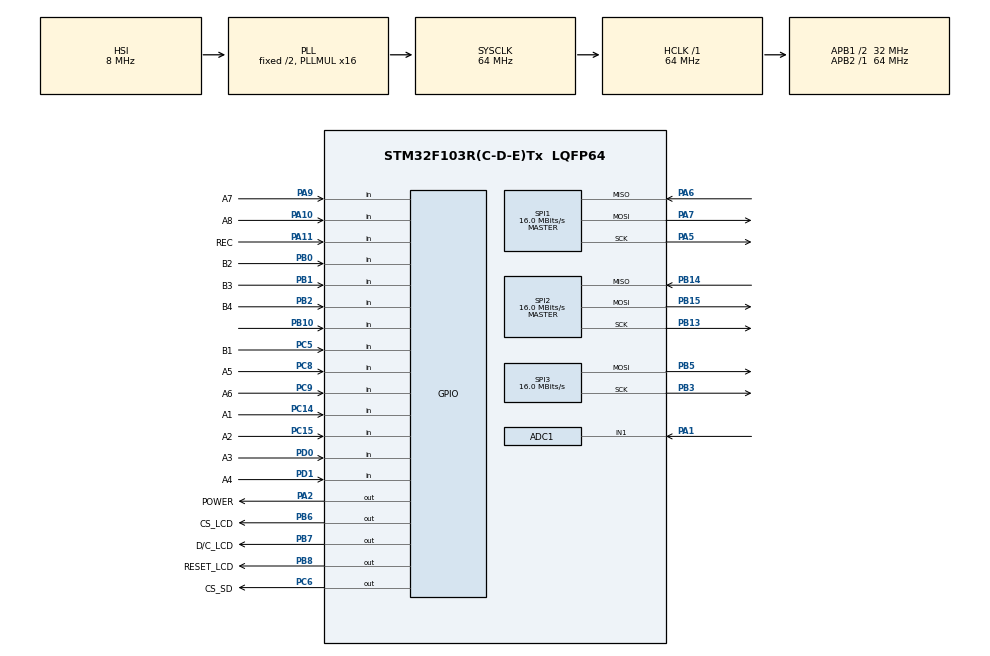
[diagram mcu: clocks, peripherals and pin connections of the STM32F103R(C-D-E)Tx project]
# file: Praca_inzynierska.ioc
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ADC1.Channel-4\#ChannelRegularConversion=ADC_CHANNEL_1
ADC1.ContinuousConvMode=ENABLE
ADC1.EnableRegularConversion=ENABLE
ADC1.NbrOfConversion=1
ADC1.NbrOfConversionFlag=1
ADC1.Rank-4\#ChannelRegularConversion=1
ADC1.SamplingTime-4\#ChannelRegularConversion=ADC_SAMPLETIME_239CYCLES_5
ADC1.master=1
Dma.ADC1.0.Direction=DMA_PERIPH_TO_MEMORY
Dma.ADC1.0.Instance=DMA1_Channel1
Dma.ADC1.0.MemDataAlignment=DMA_MDATAALIGN_HALFWORD
Dma.ADC1.0.MemInc=DMA_MINC_ENABLE
Dma.ADC1.0.Mode=DMA_CIRCULAR
Dma.ADC1.0.PeriphDataAlignment=DMA_PDATAALIGN_HALFWORD
Dma.ADC1.0.PeriphInc=DMA_PINC_DISABLE
Dma.ADC1.0.Priority=DMA_PRIORITY_LOW
Dma.Request0=ADC1
FATFS._CODE_PAGE=1252
FATFS._MAX_SS=4096
FATFS._USE_LFN=1
Mcu.Family=STM32F1
Mcu.Name=STM32F103R(C-D-E)Tx
Mcu.Package=LQFP64
NVIC.DMA1_Channel1_IRQn=true\:0\:0\:false\:false\:true\:false\:true
NVIC.PriorityGroup=NVIC_PRIORITYGROUP_4
NVIC.TIM6_IRQn=true\:0\:0\:false\:false\:true\:true\:true
NVIC.TIM7_IRQn=true\:0\:0\:false\:false\:true\:true\:true
PA1.Signal=ADCx_IN1
PA10.GPIO_Label=A8
PA10.GPIO_PuPd=GPIO_PULLUP
PA10.Signal=GPIO_Input
PA11.GPIO_Label=REC
PA11.GPIO_PuPd=GPIO_PULLUP
PA11.Signal=GPIO_Input
PA13.Signal=SYS_JTMS-SWDIO
PA14.Signal=SYS_JTCK-SWCLK
PA2.GPIO_Label=POWER
PA2.GPIO_PuPd=GPIO_PULLUP
PA2.GPIO_Speed=GPIO_SPEED_FREQ_MEDIUM
PA2.Signal=GPIO_Output
PA5.Mode=Full_Duplex_Master
PA5.Signal=SPI1_SCK
PA6.Mode=Full_Duplex_Master
PA6.Signal=SPI1_MISO
PA7.Mode=Full_Duplex_Master
PA7.Signal=SPI1_MOSI
PA9.GPIO_Label=A7
PA9.GPIO_PuPd=GPIO_PULLUP
PA9.Signal=GPIO_Input
PB0.GPIO_Label=B2
PB0.GPIO_PuPd=GPIO_PULLUP
PB0.Signal=GPIO_Input
PB1.GPIO_Label=B3
PB1.GPIO_PuPd=GPIO_PULLUP
PB1.Signal=GPIO_Input
PB10.GPIO_PuPd=GPIO_PULLUP
PB10.Signal=GPIO_Input
PB13.Mode=Full_Duplex_Master
PB13.Signal=SPI2_SCK
PB14.Mode=Full_Duplex_Master
PB14.Signal=SPI2_MISO
PB15.Mode=Full_Duplex_Master
PB15.Signal=SPI2_MOSI
PB2.GPIO_Label=B4
PB2.GPIO_PuPd=GPIO_PULLUP
PB2.Signal=GPIO_Input
PB3.Mode=TX_Only_Simplex_Unidirect_Master
PB3.Signal=SPI3_SCK
PB5.Mode=TX_Only_Simplex_Unidirect_Master
PB5.Signal=SPI3_MOSI
PB6.GPIO_Label=CS_LCD
PB6.GPIO_Speed=GPIO_SPEED_FREQ_MEDIUM
PB6.PinState=GPIO_PIN_SET
PB6.Signal=GPIO_Output
PB7.GPIO_Label=D/C_LCD
PB7.GPIO_Speed=GPIO_SPEED_FREQ_MEDIUM
PB7.Signal=GPIO_Output
PB8.GPIO_Label=RESET_LCD
PB8.GPIO_Speed=GPIO_SPEED_FREQ_MEDIUM
PB8.Signal=GPIO_Output
PC14-OSC32_IN.GPIO_Label=A1
PC14-OSC32_IN.GPIO_PuPd=GPIO_PULLUP
PC14-OSC32_IN.Signal=GPIO_Input
PC15-OSC32_OUT.GPIO_Label=A2
PC15-OSC32_OUT.GPIO_PuPd=GPIO_PULLUP
PC15-OSC32_OUT.Signal=GPIO_Input
PC5.GPIO_Label=B1
PC5.GPIO_PuPd=GPIO_PULLUP
PC5.Signal=GPIO_Input
PC6.GPIO_Label=CS_SD
PC6.GPIO_Speed=GPIO_SPEED_FREQ_MEDIUM
PC6.PinState=GPIO_PIN_SET
PC6.Signal=GPIO_Output
PC8.GPIO_Label=A5
PC8.GPIO_PuPd=GPIO_PULLUP
PC8.Signal=GPIO_Input
PC9.GPIO_Label=A6
PC9.GPIO_PuPd=GPIO_PULLUP
PC9.Signal=GPIO_Input
PD0-OSC_IN.GPIO_Label=A3
PD0-OSC_IN.GPIO_PuPd=GPIO_PULLUP
PD0-OSC_IN.Signal=GPIO_Input
PD1-OSC_OUT.GPIO_Label=A4
PD1-OSC_OUT.GPIO_PuPd=GPIO_PULLUP
PD1-OSC_OUT.Signal=GPIO_Input
ProjectManager.HeapSize=0x200
ProjectManager.StackSize=0x400
ProjectManager.TargetToolchain=MDK-ARM V5.27
RCC.ADCPresc=RCC_ADCPCLK2_DIV6
RCC.AHBFreq_Value=64000000
RCC.APB1CLKDivider=RCC_HCLK_DIV2
RCC.APB1Freq_Value=32000000
RCC.APB1TimFreq_Value=64000000
RCC.APB2Freq_Value=64000000
RCC.APB2TimFreq_Value=64000000
RCC.HCLKFreq_Value=64000000
RCC.PLLMUL=RCC_PLL_MUL16
RCC.SYSCLKFreq_VALUE=64000000
RCC.SYSCLKSource=RCC_SYSCLKSOURCE_PLLCLK
RCC.USBFreq_Value=64000000
SH.ADCx_IN1.0=ADC1_IN1,IN1
SPI1.BaudRatePrescaler=SPI_BAUDRATEPRESCALER_4
SPI1.CalculateBaudRate=16.0 MBits/s
SPI1.Direction=SPI_DIRECTION_2LINES
SPI1.Mode=SPI_MODE_MASTER
SPI1.VirtualType=VM_MASTER
SPI2.BaudRatePrescaler=SPI_BAUDRATEPRESCALER_2
SPI2.CalculateBaudRate=16.0 MBits/s
SPI2.Direction=SPI_DIRECTION_2LINES
SPI2.Mode=SPI_MODE_MASTER
SPI2.VirtualType=VM_MASTER
SPI3.CalculateBaudRate=16.0 MBits/s
SPI3.Direction=SPI_DIRECTION_2LINES
SPI3.Mode=SPI_MODE_MASTER
SPI3.VirtualType=VM_MASTER
TIM6.Period=999
TIM6.Prescaler=63999
TIM7.Period=9999
TIM7.Prescaler=6399
VP_FATFS_VS_Generic.Mode=User_defined
VP_SYS_VS_ND.Mode=No_Debug
VP_TIM6_VS_ClockSourceINT.Mode=Enable_Timer
VP_TIM7_VS_ClockSourceINT.Mode=Enable_Timer
board=custom

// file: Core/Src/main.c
/* USER CODE BEGIN Header */
/**
  ******************************************************************************
  * @file           : main.c
  * @brief          : Main program body
  ******************************************************************************
  * @attention
  *
  * <h2><center>&copy; Copyright (c) 2020 STMicroelectronics.
  * All rights reserved.</center></h2>
  *
  * This software component is licensed by ST under Ultimate Liberty license
  * SLA0044, the "License"; You may not use this file except in compliance with
  * the License. You may obtain a copy of the License at:
  *                             www.st.com/SLA0044
  *
  ******************************************************************************
  */
/* USER CODE END Header */
#include "main.h"
#include "adc.h"
#include "dma.h"
#include "fatfs.h"
#include "spi.h"
#include "tim.h"
#include "gpio.h"

#include "SD_card.h"
#include "OLED.h"
#include "AD7193.h"

/* USER CODE BEGIN Includes */

#define DIVIDER_4x 4.0
#define DIVIDER_16x 16.18

int stateB1 = 0;
int stateB2 = 0;
int stateB3 = 0;
int stateB4 = 0;
int button = 0;
int32_t next = 0;
float time = 0.0;

int Channel1, Channel2, Channel3, Channel4, Channel5, Channel6, Channel7, Channel8 = 0;
float divider1, divider2, divider3, divider4, divider5, divider6, divider7, divider8 = 0.0;
float Pomiar1, Pomiar2, Pomiar3, Pomiar4, Pomiar5, Pomiar6, Pomiar7, Pomiar8 = 0.0;

int RECORD_BOOL = 0; // 1 - Nagrywanie, 0 - Brak nagrywania
int SD_Error = 1;
int Filter = 2;			// 1 - Filtr z tlumieniem 50Hz, 2 - Filtr bez tlumienia
uint32_t PomiarADC;
float Vsense;
int ProcentBattery;

const float SupplyVoltage = 3.36; // [Volts]
const float ADCResolution = 4096.0;
const float ADCBatteryRange = 0.5;
const float ADCBatteryMin = 2.6;

/* USER CODE END Includes */

void SystemClock_Config(void);

int main(void)
{

  /* MCU Configuration--------------------------------------------------------*/

  /* Reset of all peripherals, Initializes the Flash interface and the Systick. */
  HAL_Init();

  /* Configure the system clock */
  SystemClock_Config();

  /* Initialize all configured peripherals */
  MX_GPIO_Init();
  MX_DMA_Init();
  MX_ADC1_Init();
  MX_SPI1_Init();
  MX_SPI2_Init();
  MX_SPI3_Init();
  MX_TIM6_Init();
  MX_TIM7_Init();
  MX_FATFS_Init();
  /* USER CODE BEGIN 2 */

	////////////OLED////////////
	OLED_Init();

	OLED_Full_screen();
	HAL_Delay(1000);
	OLED_Clear_screen();
	OLED_Power_on();
	HAL_Delay(1000);
	OLED_Start();
	HAL_Delay(3000);

///////////Przyciski
	HAL_NVIC_EnableIRQ(EXTI0_IRQn);
	HAL_NVIC_EnableIRQ(EXTI1_IRQn);
	HAL_NVIC_EnableIRQ(EXTI2_IRQn);
	HAL_NVIC_EnableIRQ(EXTI9_5_IRQn);
	HAL_NVIC_EnableIRQ(EXTI15_10_IRQn);

	//////////VBAT////////
	HAL_ADC_Start_DMA(&hadc1, &PomiarADC, 1);

////////////ADC////////////
	AppendStatusValuetoData();
	SetPGAGain(1);
	SetAveraging(96);
	SetFilterSinc3();
	SetPsuedoDifferentialInputs();
	Calibrate();
	ReadRegisterMap();

  /* USER CODE END 2 */

  /* Infinite loop */
  while (1)
  {

		if(HAL_GPIO_ReadPin(GPIOC, GPIO_PIN_14) == 1)
			divider1 = DIVIDER_16x;
		else
			divider1 = DIVIDER_4x;

		if(HAL_GPIO_ReadPin(GPIOC, GPIO_PIN_15) == 1)
			divider2 = DIVIDER_16x;
		else
			divider2 = DIVIDER_4x;

		if(HAL_GPIO_ReadPin(GPIOD, GPIO_PIN_0) == 1)
			divider3 = DIVIDER_16x;
		else
			divider3 = DIVIDER_4x;

		if(HAL_GPIO_ReadPin(GPIOD, GPIO_PIN_1) == 1)
			divider4 = DIVIDER_16x;
		else
			divider4 = DIVIDER_4x;

		if(HAL_GPIO_ReadPin(GPIOC, GPIO_PIN_8) == 1)
			divider5 = DIVIDER_16x;
		else
			divider5 = DIVIDER_4x;

		if(HAL_GPIO_ReadPin(GPIOC, GPIO_PIN_9) == 1)
			divider6 = DIVIDER_16x;
		else
			divider6 = DIVIDER_4x;

		if(HAL_GPIO_ReadPin(GPIOA, GPIO_PIN_14) == 1)
			divider7 = DIVIDER_16x;
		else
			divider7 = DIVIDER_4x;

		if(HAL_GPIO_ReadPin(GPIOA, GPIO_PIN_10) == 1)
			divider8 = DIVIDER_16x;
		else
			divider8 = DIVIDER_4x;

		if(Channel1 == 1)
			Pomiar1 = DataToVoltage(ReadADCChannel(0) >> 8);
		if(Channel2 == 1)
			Pomiar2 = DataToVoltage(ReadADCChannel(1) >> 8);
		if(Channel3 == 1)
			Pomiar3 = DataToVoltage(ReadADCChannel(2) >> 8);
		if(Channel4 == 1)
			Pomiar4 = DataToVoltage(ReadADCChannel(3) >> 8);
		if(Channel5 == 1)
			Pomiar5 = DataToVoltage(ReadADCChannel(4) >> 8);
		if(Channel6 == 1)
			Pomiar6 = DataToVoltage(ReadADCChannel(5) >> 8);
		if(Channel7 == 1)
			Pomiar7 = DataToVoltage(ReadADCChannel(6) >> 8);
		if(Channel8 == 1)
			Pomiar8 = DataToVoltage(ReadADCChannel(7) >> 8);
  }
}

void SystemClock_Config(void)
{
  RCC_OscInitTypeDef RCC_OscInitStruct = {0};
  RCC_ClkInitTypeDef RCC_ClkInitStruct = {0};
  RCC_PeriphCLKInitTypeDef PeriphClkInit = {0};

  /** Initializes the RCC Oscillators according to the specified parameters
  * in the RCC_OscInitTypeDef structure.
  */
  RCC_OscInitStruct.OscillatorType = RCC_OSCILLATORTYPE_HSI;
  RCC_OscInitStruct.HSIState = RCC_HSI_ON;
  RCC_OscInitStruct.HSICalibrationValue = RCC_HSICALIBRATION_DEFAULT;
  RCC_OscInitStruct.PLL.PLLState = RCC_PLL_ON;
  RCC_OscInitStruct.PLL.PLLSource = RCC_PLLSOURCE_HSI_DIV2;
  RCC_OscInitStruct.PLL.PLLMUL = RCC_PLL_MUL16;
  if (HAL_RCC_OscConfig(&RCC_OscInitStruct) != HAL_OK)
  {
    Error_Handler();
  }
  /** Initializes the CPU, AHB and APB buses clocks
  */
  RCC_ClkInitStruct.ClockType = RCC_CLOCKTYPE_HCLK|RCC_CLOCKTYPE_SYSCLK
                              |RCC_CLOCKTYPE_PCLK1|RCC_CLOCKTYPE_PCLK2;
  RCC_ClkInitStruct.SYSCLKSource = RCC_SYSCLKSOURCE_PLLCLK;
  RCC_ClkInitStruct.AHBCLKDivider = RCC_SYSCLK_DIV1;
  RCC_ClkInitStruct.APB1CLKDivider = RCC_HCLK_DIV2;
  RCC_ClkInitStruct.APB2CLKDivider = RCC_HCLK_DIV1;

  if (HAL_RCC_ClockConfig(&RCC_ClkInitStruct, FLASH_LATENCY_2) != HAL_OK)
  {
    Error_Handler();
  }
  PeriphClkInit.PeriphClockSelection = RCC_PERIPHCLK_ADC;
  PeriphClkInit.AdcClockSelection = RCC_ADCPCLK2_DIV6;
  if (HAL_RCCEx_PeriphCLKConfig(&PeriphClkInit) != HAL_OK)
  {
    Error_Handler();
  }
}

/* USER CODE BEGIN 4 */
void HAL_TIM_PeriodElapsedCallback(TIM_HandleTypeDef *htim)
{
	if(htim->Instance == TIM6)
	{
		Vsense = (SupplyVoltage*PomiarADC)/(ADCResolution);
		ProcentBattery = (int)(((Vsense-ADCBatteryMin)/ADCBatteryRange)*100);
		if(ProcentBattery < 3)
			HAL_GPIO_WritePin(GPIOA, GPIO_PIN_2, GPIO_PIN_SET);

		OLED_Display_measurement(ProcentBattery, RECORD_BOOL, Pomiar1*divider1, Pomiar2*divider2, Pomiar3*divider3, Pomiar4*divider4, Pomiar5*divider5, Pomiar6*divider6, Pomiar7*divider7, Pomiar8*divider8);
	}

	if(htim->Instance == TIM7)
	{
		next++;
		write_SD(Pomiar1*divider1, Pomiar2*divider2, Pomiar3*divider3, Pomiar4*divider4, Pomiar5*divider5, Pomiar6*divider6, Pomiar7*divider7, Pomiar8*divider8, time*next);
	}
}

void HAL_GPIO_EXTI_Callback(uint16_t GPIO_Pin)
{
	//////B1////////////
	if(GPIO_Pin == GPIO_PIN_5)
	{
		button = 1;
		HAL_TIM_Base_Stop_IT(&htim6);
		stateB1++;

		if(stateB1 > 3)
			stateB1 = 1;

		OLED_Top(stateB1);
	}
	///////////B2//////////
	if(GPIO_Pin == GPIO_PIN_0)
	{
		button = 2;
		stateB2++;

		if(stateB2 > 2)
			stateB2 = 1;

    OLED_Select_Filter(stateB2);
	}

	///////////////B3//////////
	if(GPIO_Pin == GPIO_PIN_1)
	{
		button = 3;
		stateB3++;

		if(stateB3 > 8)
			stateB3 = 1;

		if(Filter == 1)
			OLED_Sampling_frequency1(stateB3);
		else if(Filter == 2)
			OLED_Sampling_frequency2(stateB3);
	}

/////////B4////////
	if(GPIO_Pin == GPIO_PIN_11)
	{
		button = 4;
		HAL_TIM_Base_Stop_IT(&htim6);

		stateB4++;

		if(stateB4 > 10)
			stateB4 = 1;

		OLED_ON_OFF_Channel(stateB4);

	}

/////////ENTER/////////
	if(GPIO_Pin == GPIO_PIN_2)
	{
		switch(button)
		{
			case 1:
				switch(stateB1)
				{
					case 1:
							if(Init_SD() != 1)
							{
								open_SD();
								write_info();
								time = ((float)(PERIOD_Tim + 1.0))/1000.0;
								RECORD_BOOL = 1;
								HAL_TIM_Base_Start_IT(&htim6);
								HAL_TIM_Base_Start_IT(&htim7);
								SD_Error = 0;
							}
							else
							{
								SD_Error = 1;
								OLED_Error();
							}
						break;
					case 2:
							if(close_SD() || SD_Error != 1)
							{
								RECORD_BOOL = 0;
								HAL_TIM_Base_Stop_IT(&htim6);
								HAL_TIM_Base_Stop_IT(&htim7);
								next = 0;
								OLED_Succesfull();
							}
							else
								OLED_Error();
						break;
					case 3:
							HAL_TIM_Base_Start_IT(&htim6);
						break;
				}
				break;

			case 2:
				switch(stateB2)
				{
					case 1:
							SetAveraging(96);
							Filter = 1;
							OLED_Succesfull();
						break;
					case 2:
							SetAveraging(24);
							Filter = 2;
							OLED_Succesfull();
						break;
				}
				break;

			case 3:
				if(Filter == 1)
				{
					switch(stateB3)
					{
						case 1:
								PERIOD_Tim = 59;
								OLED_Succesfull();
							break;
						case 2:
								PERIOD_Tim = 99;
								OLED_Succesfull();
							break;
						case 3:
								PERIOD_Tim = 249;
								OLED_Succesfull();
							break;
						case 4:
								PERIOD_Tim = 499;
								OLED_Succesfull();
							break;
						case 5:
								PERIOD_Tim = 999;
								OLED_Succesfull();
							break;
						case 6:
								PERIOD_Tim = 1999;
								OLED_Succesfull();
							break;
						case 7:
								PERIOD_Tim = 4999;
								OLED_Succesfull();
							break;
						case 8:
								PERIOD_Tim = 9999;
								OLED_Succesfull();
							break;
					}
					MX_TIM7_Init();
				}
				if (Filter == 2)
				{
					switch(stateB3)
					{
						case 1:
								PERIOD_Tim = 14;
								OLED_Succesfull();
							break;
						case 2:
								PERIOD_Tim = 49;
								OLED_Succesfull();
							break;
						case 3:
								PERIOD_Tim = 149;
								OLED_Succesfull();
							break;
						case 4:
								PERIOD_Tim = 249;
								OLED_Succesfull();
							break;
						case 5:
								PERIOD_Tim = 499;
								OLED_Succesfull();
							break;
						case 6:
								PERIOD_Tim = 999;
								OLED_Succesfull();
							break;
						case 7:
								PERIOD_Tim = 1999;
								OLED_Succesfull();
							break;
						case 8:
								PERIOD_Tim = 4999;
								OLED_Succesfull();
							break;
					}
					MX_TIM7_Init();
				}
				break;

			case 4:
				switch(stateB4)
				{
					case 1:
							HAL_TIM_Base_Stop_IT(&htim6);
							OLED_Clear_screen();
						break;
					case 2:
							if(Channel1 == 0)
							{
								Channel1 = 1;
								OLED_Activate();
							}
							else
							{
								Channel1 = 0;
								OLED_Deactivate();
							}
						break;
					case 3:
							if(Channel2 == 0)
							{
								Channel2 = 1;
								OLED_Activate();
							}
							else
							{
								Channel2 = 0;
								OLED_Deactivate();
							}
						break;
					case 4:
							if(Channel3 == 0)
							{
								Channel3 = 1;
								OLED_Activate();
							}
							else
							{
								Channel3 = 0;
								OLED_Deactivate();
							}
						break;
					case 5:
							if(Channel4 == 0)
							{
								Channel4 = 1;
								OLED_Activate();
							}
							else
							{
								Channel4 = 0;
								OLED_Deactivate();
							}
						break;
					case 6:
						HAL_GPIO_WritePin(GPIOA, GPIO_PIN_2, GPIO_PIN_SET);
						break;
					case 7:
							if(Channel5 == 0)
							{
								Channel5 = 1;
								OLED_Activate();
							}
							else
							{
								Channel5 = 0;
								OLED_Deactivate();
							}
						break;
					case 8:
							if(Channel6 == 0)
							{
								Channel6 = 1;
								OLED_Activate();
							}
							else
							{
								Channel6 = 0;
								OLED_Deactivate();
							}
						break;
					case 9:
							if(Channel7 == 0)
							{
								Channel7 = 1;
								OLED_Activate();
							}
							else
							{
								Channel7 = 0;
								OLED_Deactivate();
							}
						break;
					case 10:
							if(Channel8 == 0)
							{
								Channel8 = 1;
								OLED_Activate();
							}
							else
							{
								Channel8 = 0;
								OLED_Deactivate();
							}
						break;
				}
				break;
		}
	}
}

void EXTI9_5_IRQHandler(void)
{
	HAL_GPIO_EXTI_IRQHandler(GPIO_PIN_5);
}

void EXTI0_IRQHandler(void)
{
	HAL_GPIO_EXTI_IRQHandler(GPIO_PIN_0);
}

void EXTI1_IRQHandler(void)
{
	HAL_GPIO_EXTI_IRQHandler(GPIO_PIN_1);
}

void EXTI15_10_IRQHandler(void)
{
	HAL_GPIO_EXTI_IRQHandler(GPIO_PIN_11);
}

void EXTI2_IRQHandler(void)
{
	HAL_GPIO_EXTI_IRQHandler(GPIO_PIN_2);
}

/* USER CODE END 4 */

void Error_Handler(void)
{
}

/************************ (C) COPYRIGHT STMicroelectronics *****END OF FILE****/
